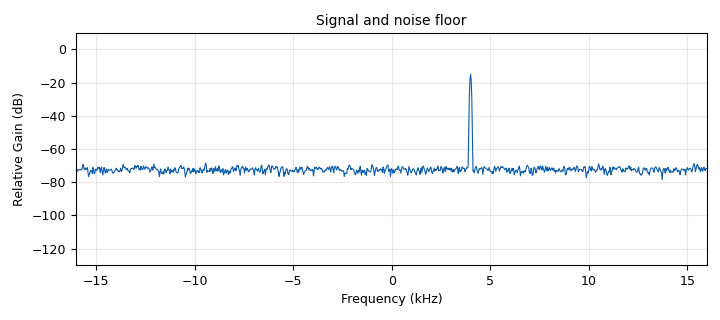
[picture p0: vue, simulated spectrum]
options:
  parameters:
    generate_options: qt_gui
    id: fg_ch22_001
    output_language: python
    title: FG-CH22-001
  states: {}

blocks:
- name: amp_bruit
  id: variable
  parameters:
    value: '0.02'
  states: {}
- name: amp_signal
  id: variable
  parameters:
    value: '0.5'
  states: {}
- name: samp_rate
  id: variable
  parameters:
    value: '32000'
  states: {}
- name: bruit
  id: analog_noise_source_x
  parameters:
    amp: amp_bruit
    noise_type: analog.GR_GAUSSIAN
    seed: '0'
    type: complex
  states: {}
- name: debit
  id: blocks_throttle2
  parameters:
    samples_per_second: samp_rate
    type: complex
  states: {}
- name: raie
  id: analog_sig_source_x
  parameters:
    amp: amp_signal
    freq: '4000'
    offset: '0'
    phase: '0'
    samp_rate: samp_rate
    type: complex
    waveform: analog.GR_COS_WAVE
  states: {}
- name: somme
  id: blocks_add_xx
  parameters:
    type: complex
  states: {}
- name: vue
  id: qtgui_freq_sink_x
  parameters:
    average: '0.05'
    bw: samp_rate
    fc: '0'
    fftsize: '1024'
    grid: 'True'
    gui_hint: 0,0,1,1
    legend: 'False'
    name: '"Signal and noise floor"'
    type: complex
    ymin: '-130'
  states: {}

connections:
- [bruit, '0', somme, '1']
- [debit, '0', vue, '0']
- [raie, '0', somme, '0']
- [somme, '0', debit, '0']

metadata:
  file_format: 1
  grc_version: 3.10.12.0
